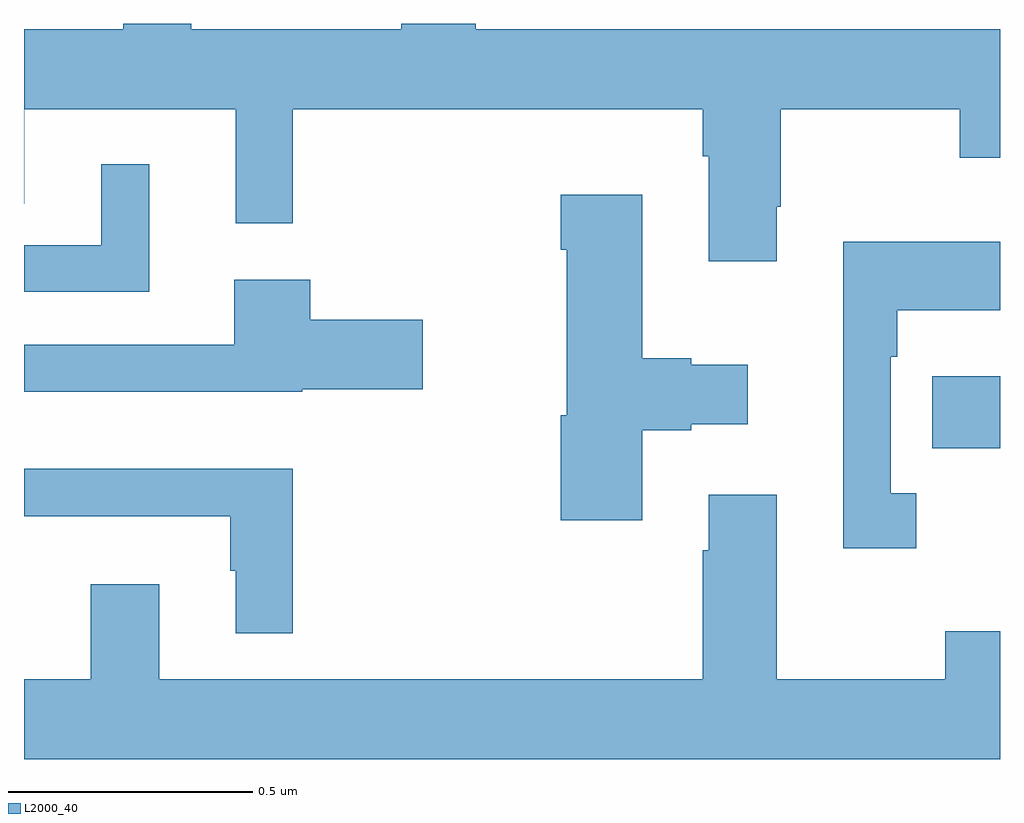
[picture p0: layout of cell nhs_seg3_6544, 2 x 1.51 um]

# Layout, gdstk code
import gdstk
lib = gdstk.Library(unit=1e-6, precision=1e-09)
def R(c, l, rs):  # rectangles x0, y0, x1, y1
    for r in rs: c.add(gdstk.rectangle(r[:2], r[2:], *l))
def P(c, l, *ps):  # polygons
    for p in ps: c.add(gdstk.Polygon(p, *l))
L2000_40 = (2000, 40)

nhs_seg3_6544 = lib.new_cell('nhs_seg3_6544')
R(nhs_seg3_6544, L2000_40, [(193.861,725.53,194,725.677)])
P(nhs_seg3_6544, L2000_40, [(193.543,726.025),(193.551,726.025),(193.551,726.224),(193.918,726.224),(193.918,726.125),(194,726.125),(194,726.388),(192.926,726.388),(192.926,726.4),(192.773,726.4),(192.773,726.388),(192.343,726.388),(192.343,726.4),(192.203,726.4),(192.203,726.388),(192,726.388),(192,726.031),(192.001,726.031),(192.001,726.224),(192.434,726.224),(192.434,725.991),(192.551,725.991),(192.551,726.224),(193.391,726.224),(193.391,726.128),(193.403,726.128),(193.403,725.913),(193.543,725.913)],
  [(192.257,726.112),(192.158,726.112),(192.158,725.946),(192,725.946),(192,725.85),(192.257,725.85)],
  [(193.267,725.567),(193.367,725.567),(193.367,725.579),(193.483,725.579),(193.483,725.701),(193.367,725.701),(193.367,725.714),(193.267,725.714),(193.267,726.049),(193.1,726.049),(193.1,725.936),(193.112,725.936),(193.112,725.597),(193.1,725.597),(193.1,725.382),(193.267,725.382)],
  [(193.828,725.438),(193.776,725.438),(193.776,725.717),(193.789,725.717),(193.789,725.813),(194,725.813),(194,725.953),(193.679,725.953),(193.679,725.325),(193.828,725.325)],
  [(192.57,725.651),(192.817,725.651),(192.817,725.793),(192.587,725.793),(192.587,725.875),(192.431,725.875),(192.431,725.742),(192,725.742),(192,725.645),(192.57,725.645)],
  [(192.551,725.488),(192,725.488),(192,725.39),(192.423,725.39),(192.423,725.279),(192.434,725.279),(192.434,725.151),(192.551,725.151)],
  [(194,725.155),(193.888,725.155),(193.888,725.056),(193.543,725.056),(193.543,725.434),(193.403,725.434),(193.403,725.321),(193.391,725.321),(193.391,725.056),(192.277,725.056),(192.277,725.251),(192.137,725.251),(192.137,725.056),(192,725.056),(192,724.892),(194,724.892)])

lib.write_gds('nhs_seg3_6544.gds')
